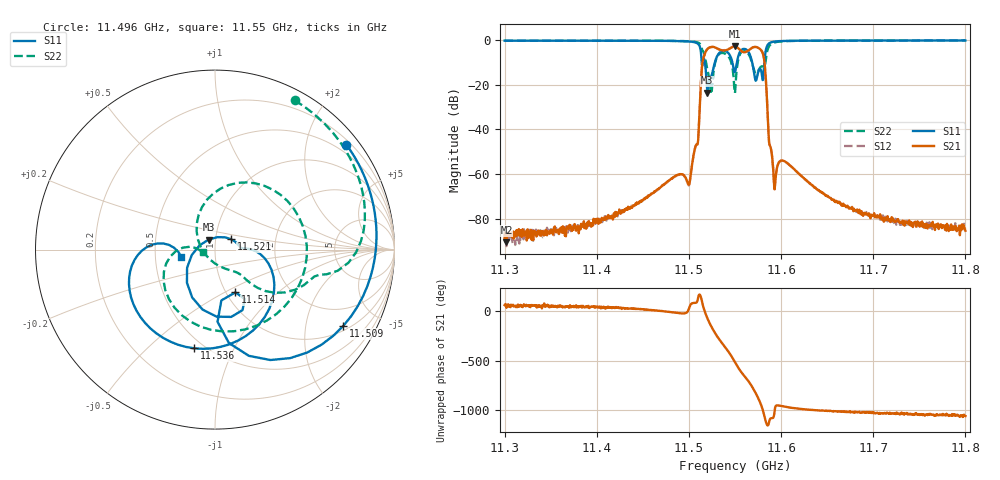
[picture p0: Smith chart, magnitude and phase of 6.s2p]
# Hz S DB R 50
! Planar, S50244, 24171007, 25.4.1/6
! Date: 15.10.2025 10:25:42
! Data: Format (Calibration Info)
! Freq	S11:dB/Ang(F2)	S21:dB/Ang(F2)	S12:dB/Ang(F2)	S22:dB/Ang(F2)
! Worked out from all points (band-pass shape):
!   1001 points, 11.3 GHz to 11.8 GHz, reference 50 ohm
!   highest |S21| = -2.85 dB at 11.55 GHz (marker M1); lowest = -90.6 dB at 11.302 GHz (marker M2)
!   |S21| within 3 dB of the highest: 11.518 GHz to 11.58 GHz (62.45 MHz wide, 0.541 % of centre)
!   lowest |S11| = -23.6 dB at 11.52 GHz (marker M3), VSWR 1.14, Z = 46.3 + j5.19 ohm
!   |S11| at or under -10 dB: 11.51726 GHz to 11.52817 GHz (10.91 MHz wide, 0.0947 % of centre); 11.54709 GHz to 11.55206 GHz (4.968 MHz wide, 0.043 % of centre); 11.5686 GHz to 11.58191 GHz (13.3 MHz wide, 0.115 % of centre)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
!   |S22| runs from -24.2 to -0.2 dB; largest |S21 - S12| = 0.013
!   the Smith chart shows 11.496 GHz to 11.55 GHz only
!   S11 on the Smith chart (normalised r, x): 11.496 GHz: 0.30, +2.83; 11.509 GHz: 1.18, -3.24; 11.514 GHz: 1.10, -0.57; 11.521 GHz: 1.19, +0.14; 11.536 GHz: 0.44, -0.71; 11.55 GHz: 0.68, -0.06
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1.13e10  -0.32 144.8  -88.72 64.0  -85.71 51.8  -0.31 143.1
1.1302e10  -0.32 144.4  -90.64 36.6  -92.39 48.6  -0.31 142.8
1.13835e10  -0.33 126.0  -83.50 47.3  -83.46 53.2  -0.32 126.2
1.1467e10  -0.37 85.6  -66.81 7.2  -66.96 6.4  -0.35 93.8
1.1496e10  -0.56 38.6  -61.39 -18.3  -61.58 -17.5  -0.52 61.9
1.15095e10  -1.60 -30.8  -46.59 117.3  -46.68 118.3  -1.11 20.5
1.15145e10  -11.57 -64.5  -10.70 87.1  -10.61 87.4  -4.48 -13.6
1.152e10  -23.57 122.7  -4.07 -69.3  -4.02 -69.8  -13.20 -44.0
1.15215e10  -19.48 33.3  -3.57 -101.0  -3.57 -101.4  -15.89 -49.1
1.15265e10  -12.80 -2.4  -3.10 169.3  -3.22 169.2  -14.96 124.5
1.1536e10  -5.01 -101.7  -4.68 37.7  -4.57 38.7  -5.80 -4.6
1.15495e10  -14.33 -168.0  -2.85 -146.9  -2.85 -147.1  -23.07 -168.7
1.155e10  -14.29 -157.7  -2.85 -155.2  -2.84 -155.3  -23.82 -133.7
1.1557e10  -4.48 -170.5  -5.00 101.6  -5.00 101.4  -5.34 -174.4
1.15655e10  -6.01 117.9  -4.39 0.3  -4.36 0.3  -6.89 82.6
1.15715e10  -16.86 17.1  -3.11 -92.8  -3.12 -93.0  -14.43 -9.1
1.15795e10  -16.52 150.7  -5.31 99.6  -5.33 99.0  -11.79 -132.8
1.1586e10  -1.90 -93.2  -38.31 -74.3  -38.22 -73.6  -3.62 -46.4
1.1593e10  -0.70 -140.5  -66.95 71.4  -66.60 71.9  -1.08 -120.3
1.16335e10  -0.31 161.2  -64.94 81.8  -64.98 79.6  -0.32 163.5
1.1717e10  -0.25 129.9  -80.99 48.9  -80.43 44.6  -0.24 129.4
1.18e10  -0.22 112.5  -85.48 18.4  -84.66 19.2  -0.22 112.1
